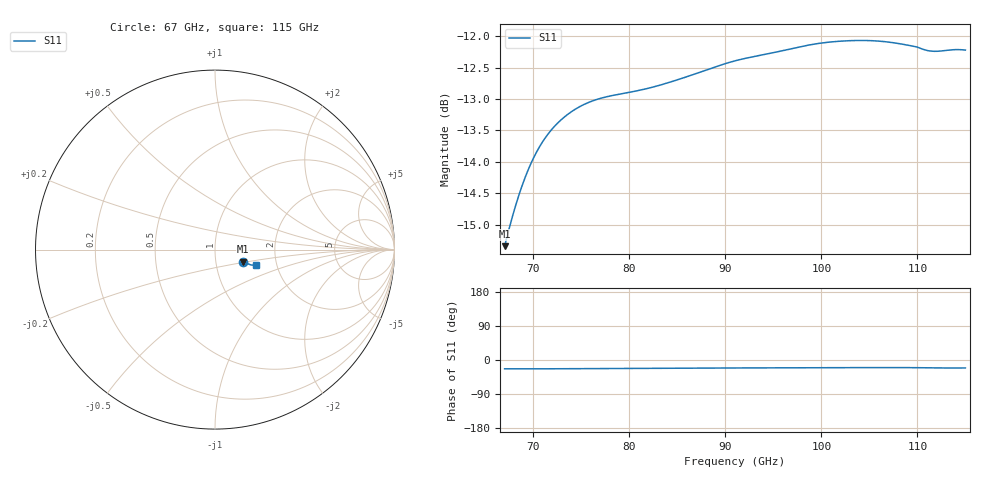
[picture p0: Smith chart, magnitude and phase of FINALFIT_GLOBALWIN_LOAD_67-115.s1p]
! Generated by Phase I extraction
# Hz S RI R 50
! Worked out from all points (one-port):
!   1001 points, 67 GHz to 115 GHz, reference 50 ohm
!   lowest |S11| = -15.3 dB at 67 GHz (marker M1), VSWR 1.41, Z = 67.9 - j9.42 ohm
!   |S11| at or under -10 dB: start of sweep to end of sweep
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6.7e10  0.1571 -0.0674
6.7192e10  0.1591 -0.0684
6.7912e10  0.1667 -0.0719
6.8584e10  0.1732 -0.0748
6.9208e10  0.1785 -0.0771
6.9832e10  0.1832 -0.0791
7.0552e10  0.1878 -0.0809
7.1272e10  0.1917 -0.0824
7.2088e10  0.1953 -0.0837
7.3e10  0.1985 -0.0847
7.4248e10  0.2021 -0.0855
7.564e10  0.205 -0.086
7.708e10  0.207 -0.0861
7.9e10  0.2089 -0.086
8.2024e10  0.2117 -0.0856
8.5e10  0.2156 -0.0853
9.1e10  0.2241 -0.086
9.7e10  0.23 -0.0861
9.9976e10  0.2325 -0.0864
1.03e11  0.2338 -0.086
1.06024e11  0.2339 -0.0852
1.09e11  0.2321 -0.0848
1.10248e11  0.2305 -0.0852
1.10872e11  0.2293 -0.0858
1.11496e11  0.2285 -0.0867
1.12216e11  0.2281 -0.0876
1.13368e11  0.2284 -0.0884
1.15e11  0.2286 -0.0877
